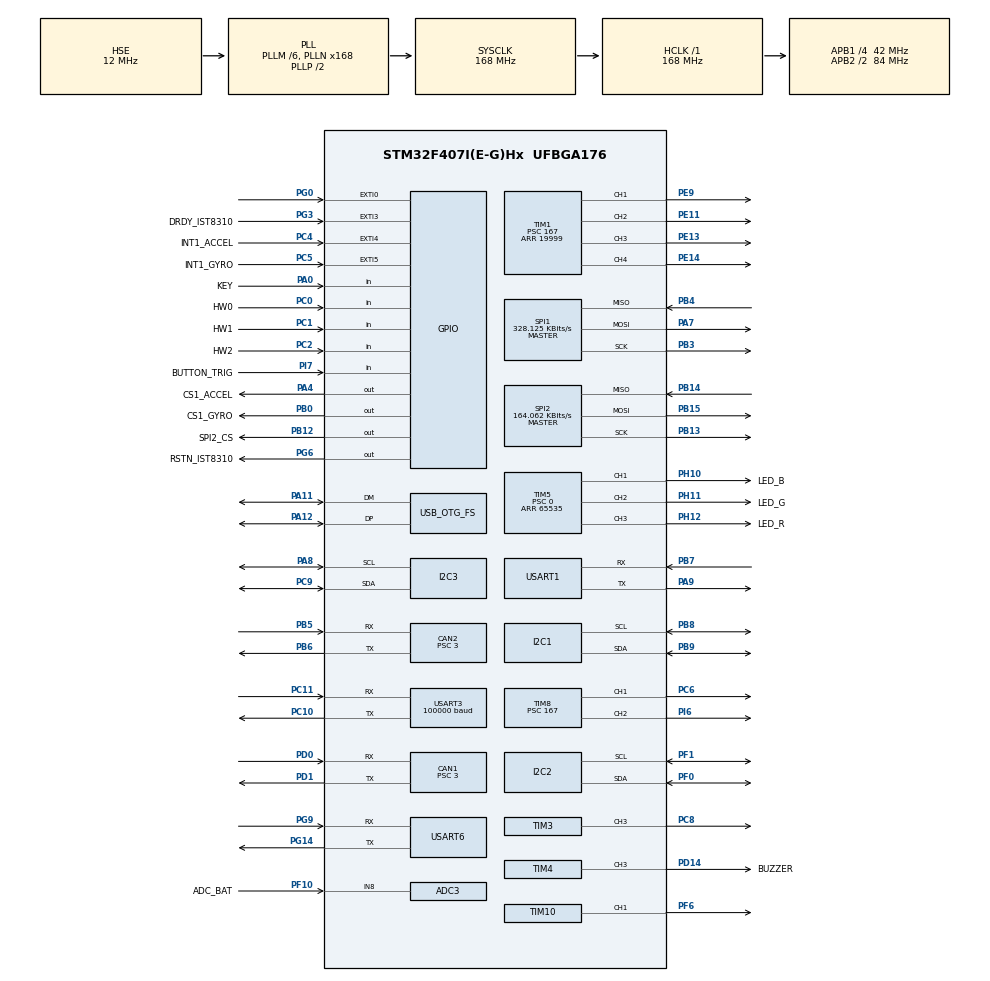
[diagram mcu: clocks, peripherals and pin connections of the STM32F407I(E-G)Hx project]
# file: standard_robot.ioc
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ADC1.Channel-0\#ChannelRegularConversion=ADC_CHANNEL_TEMPSENSOR
ADC1.ClockPrescaler=ADC_CLOCK_SYNC_PCLK_DIV6
ADC1.NbrOfConversionFlag=1
ADC1.Rank-0\#ChannelRegularConversion=1
ADC1.SamplingTime-0\#ChannelRegularConversion=ADC_SAMPLETIME_3CYCLES
ADC1.master=1
ADC3.Channel-0\#ChannelRegularConversion=ADC_CHANNEL_8
ADC3.ClockPrescaler=ADC_CLOCK_SYNC_PCLK_DIV6
ADC3.NbrOfConversionFlag=1
ADC3.Rank-0\#ChannelRegularConversion=1
ADC3.SamplingTime-0\#ChannelRegularConversion=ADC_SAMPLETIME_3CYCLES
CAN1.BS1=CAN_BS1_10TQ
CAN1.BS2=CAN_BS2_3TQ
CAN1.CalculateBaudRate=1000000
CAN1.CalculateTimeQuantum=71.42857142857143
CAN1.Prescaler=3
CAN2.BS1=CAN_BS1_10TQ
CAN2.BS2=CAN_BS2_3TQ
CAN2.CalculateBaudRate=1000000
CAN2.CalculateTimeQuantum=71.42857142857143
CAN2.Prescaler=3
Dma.I2C2_TX.2.Direction=DMA_MEMORY_TO_PERIPH
Dma.I2C2_TX.2.FIFOMode=DMA_FIFOMODE_DISABLE
Dma.I2C2_TX.2.Instance=DMA1_Stream7
Dma.I2C2_TX.2.MemDataAlignment=DMA_MDATAALIGN_BYTE
Dma.I2C2_TX.2.MemInc=DMA_MINC_ENABLE
Dma.I2C2_TX.2.Mode=DMA_NORMAL
Dma.I2C2_TX.2.PeriphDataAlignment=DMA_PDATAALIGN_BYTE
Dma.I2C2_TX.2.PeriphInc=DMA_PINC_DISABLE
Dma.I2C2_TX.2.Priority=DMA_PRIORITY_HIGH
Dma.Request0=SPI1_RX
Dma.Request1=SPI1_TX
Dma.Request2=I2C2_TX
Dma.Request3=USART3_RX
Dma.Request4=USART6_RX
Dma.Request5=USART6_TX
Dma.Request6=USART1_TX
Dma.SPI1_RX.0.Direction=DMA_PERIPH_TO_MEMORY
Dma.SPI1_RX.0.FIFOMode=DMA_FIFOMODE_DISABLE
Dma.SPI1_RX.0.Instance=DMA2_Stream2
Dma.SPI1_RX.0.MemDataAlignment=DMA_MDATAALIGN_BYTE
Dma.SPI1_RX.0.MemInc=DMA_MINC_ENABLE
Dma.SPI1_RX.0.Mode=DMA_NORMAL
Dma.SPI1_RX.0.PeriphDataAlignment=DMA_PDATAALIGN_BYTE
Dma.SPI1_RX.0.PeriphInc=DMA_PINC_DISABLE
Dma.SPI1_RX.0.Priority=DMA_PRIORITY_VERY_HIGH
Dma.SPI1_TX.1.Direction=DMA_MEMORY_TO_PERIPH
Dma.SPI1_TX.1.FIFOMode=DMA_FIFOMODE_DISABLE
Dma.SPI1_TX.1.Instance=DMA2_Stream3
Dma.SPI1_TX.1.MemDataAlignment=DMA_MDATAALIGN_BYTE
Dma.SPI1_TX.1.MemInc=DMA_MINC_ENABLE
Dma.SPI1_TX.1.Mode=DMA_NORMAL
Dma.SPI1_TX.1.PeriphDataAlignment=DMA_PDATAALIGN_BYTE
Dma.SPI1_TX.1.PeriphInc=DMA_PINC_DISABLE
Dma.SPI1_TX.1.Priority=DMA_PRIORITY_HIGH
Dma.USART1_TX.6.Direction=DMA_MEMORY_TO_PERIPH
Dma.USART1_TX.6.FIFOMode=DMA_FIFOMODE_DISABLE
Dma.USART1_TX.6.Instance=DMA2_Stream7
Dma.USART1_TX.6.MemDataAlignment=DMA_MDATAALIGN_BYTE
Dma.USART1_TX.6.MemInc=DMA_MINC_ENABLE
Dma.USART1_TX.6.Mode=DMA_NORMAL
Dma.USART1_TX.6.PeriphDataAlignment=DMA_PDATAALIGN_BYTE
Dma.USART1_TX.6.PeriphInc=DMA_PINC_DISABLE
Dma.USART1_TX.6.Priority=DMA_PRIORITY_MEDIUM
Dma.USART3_RX.3.Direction=DMA_PERIPH_TO_MEMORY
Dma.USART3_RX.3.FIFOMode=DMA_FIFOMODE_DISABLE
Dma.USART3_RX.3.Instance=DMA1_Stream1
Dma.USART3_RX.3.MemDataAlignment=DMA_MDATAALIGN_BYTE
Dma.USART3_RX.3.MemInc=DMA_MINC_ENABLE
Dma.USART3_RX.3.Mode=DMA_NORMAL
Dma.USART3_RX.3.PeriphDataAlignment=DMA_PDATAALIGN_BYTE
Dma.USART3_RX.3.PeriphInc=DMA_PINC_DISABLE
Dma.USART3_RX.3.Priority=DMA_PRIORITY_HIGH
Dma.USART6_RX.4.Direction=DMA_PERIPH_TO_MEMORY
Dma.USART6_RX.4.FIFOMode=DMA_FIFOMODE_DISABLE
Dma.USART6_RX.4.Instance=DMA2_Stream1
Dma.USART6_RX.4.MemDataAlignment=DMA_MDATAALIGN_BYTE
Dma.USART6_RX.4.MemInc=DMA_MINC_ENABLE
Dma.USART6_RX.4.Mode=DMA_NORMAL
Dma.USART6_RX.4.PeriphDataAlignment=DMA_PDATAALIGN_BYTE
Dma.USART6_RX.4.PeriphInc=DMA_PINC_DISABLE
Dma.USART6_RX.4.Priority=DMA_PRIORITY_HIGH
Dma.USART6_TX.5.Direction=DMA_MEMORY_TO_PERIPH
Dma.USART6_TX.5.FIFOMode=DMA_FIFOMODE_DISABLE
Dma.USART6_TX.5.Instance=DMA2_Stream6
Dma.USART6_TX.5.MemDataAlignment=DMA_MDATAALIGN_BYTE
Dma.USART6_TX.5.MemInc=DMA_MINC_ENABLE
Dma.USART6_TX.5.Mode=DMA_NORMAL
Dma.USART6_TX.5.PeriphDataAlignment=DMA_PDATAALIGN_BYTE
Dma.USART6_TX.5.PeriphInc=DMA_PINC_DISABLE
Dma.USART6_TX.5.Priority=DMA_PRIORITY_MEDIUM
FREERTOS.INCLUDE_eTaskGetState=1
FREERTOS.INCLUDE_pcTaskGetTaskName=1
FREERTOS.INCLUDE_uxTaskGetStackHighWaterMark=1
FREERTOS.INCLUDE_vTaskCleanUpResources=1
FREERTOS.INCLUDE_vTaskDelayUntil=1
FREERTOS.INCLUDE_xEventGroupSetBitFromISR=1
FREERTOS.INCLUDE_xQueueGetMutexHolder=1
FREERTOS.INCLUDE_xSemaphoreGetMutexHolder=1
FREERTOS.INCLUDE_xTaskAbortDelay=1
FREERTOS.INCLUDE_xTaskGetCurrentTaskHandle=1
FREERTOS.INCLUDE_xTaskGetHandle=1
FREERTOS.INCLUDE_xTimerPendFunctionCall=1
FREERTOS.Tasks01=test,24,128,test_task,As weak,NULL,Dynamic,NULL,NULL
FREERTOS.configTOTAL_HEAP_SIZE=24576
I2C1.I2C_Mode=I2C_Fast
I2C2.I2C_Mode=I2C_Fast
I2C3.I2C_Mode=I2C_Fast
Mcu.Family=STM32F4
Mcu.Name=STM32F407I(E-G)Hx
Mcu.Package=UFBGA176
NVIC.CAN1_RX0_IRQn=true\:6\:0\:true\:false\:true\:true\:true\:true
NVIC.CAN2_RX0_IRQn=true\:6\:0\:true\:false\:true\:true\:true\:true
NVIC.DMA1_Stream1_IRQn=true\:5\:0\:true\:false\:false\:true\:false\:false
NVIC.DMA1_Stream7_IRQn=true\:5\:0\:true\:false\:false\:true\:false\:true
NVIC.DMA2_Stream1_IRQn=true\:5\:0\:true\:false\:true\:true\:false\:true
NVIC.DMA2_Stream2_IRQn=true\:5\:0\:true\:false\:false\:true\:false\:true
NVIC.DMA2_Stream3_IRQn=true\:5\:0\:true\:false\:false\:true\:false\:true
NVIC.DMA2_Stream6_IRQn=true\:5\:0\:true\:false\:true\:true\:false\:true
NVIC.DMA2_Stream7_IRQn=true\:5\:0\:true\:false\:true\:true\:false\:true
NVIC.EXTI0_IRQn=true\:6\:0\:true\:false\:true\:true\:true\:true
NVIC.EXTI3_IRQn=true\:5\:0\:true\:false\:true\:true\:true\:true
NVIC.EXTI4_IRQn=true\:5\:0\:true\:false\:true\:true\:true\:true
NVIC.EXTI9_5_IRQn=true\:5\:0\:true\:false\:true\:true\:true\:true
NVIC.OTG_FS_IRQn=true\:5\:0\:false\:false\:true\:true\:false\:true
NVIC.PriorityGroup=NVIC_PRIORITYGROUP_4
NVIC.TIM8_TRG_COM_TIM14_IRQn=true\:0\:0\:false\:false\:true\:false\:false\:true
NVIC.USART3_IRQn=true\:4\:0\:true\:false\:false\:false\:true\:true
NVIC.USART6_IRQn=true\:5\:0\:true\:false\:false\:true\:true\:true
PA0-WKUP.GPIO_Label=KEY
PA0-WKUP.GPIO_PuPd=GPIO_PULLUP
PA0-WKUP.Signal=GPIO_Input
PA11.Mode=Device_Only
PA11.Signal=USB_OTG_FS_DM
PA12.Mode=Device_Only
PA12.Signal=USB_OTG_FS_DP
PA13.Mode=Serial_Wire
PA13.Signal=SYS_JTMS-SWDIO
PA14.Mode=Serial_Wire
PA14.Signal=SYS_JTCK-SWCLK
PA4.GPIO_Label=CS1_ACCEL
PA4.GPIO_PuPd=GPIO_PULLUP
PA4.GPIO_Speed=GPIO_SPEED_FREQ_HIGH
PA4.PinState=GPIO_PIN_SET
PA4.Signal=GPIO_Output
PA7.GPIO_PuPd=GPIO_PULLUP
PA7.Mode=Full_Duplex_Master
PA7.Signal=SPI1_MOSI
PA8.GPIO_Pu=GPIO_PULLUP
PA8.Mode=I2C
PA8.Signal=I2C3_SCL
PA9.Mode=Asynchronous
PA9.Signal=USART1_TX
PB0.GPIO_Label=CS1_GYRO
PB0.GPIO_PuPd=GPIO_PULLUP
PB0.GPIO_Speed=GPIO_SPEED_FREQ_HIGH
PB0.PinState=GPIO_PIN_SET
PB0.Signal=GPIO_Output
PB12.GPIO_Label=SPI2_CS
PB12.GPIO_PuPd=GPIO_PULLUP
PB12.GPIO_Speed=GPIO_SPEED_FREQ_MEDIUM
PB12.PinState=GPIO_PIN_SET
PB12.Signal=GPIO_Output
PB13.GPIO_PuPd=GPIO_PULLUP
PB13.Mode=Full_Duplex_Master
PB13.Signal=SPI2_SCK
PB14.GPIO_PuPd=GPIO_PULLUP
PB14.Mode=Full_Duplex_Master
PB14.Signal=SPI2_MISO
PB15.GPIO_PuPd=GPIO_PULLUP
PB15.Mode=Full_Duplex_Master
PB15.Signal=SPI2_MOSI
PB3.GPIO_PuPd=GPIO_PULLUP
PB3.Mode=Full_Duplex_Master
PB3.Signal=SPI1_SCK
PB4.GPIO_PuPd=GPIO_PULLUP
PB4.Mode=Full_Duplex_Master
PB4.Signal=SPI1_MISO
PB5.Mode=CAN_Activate
PB5.Signal=CAN2_RX
PB6.Mode=CAN_Activate
PB6.Signal=CAN2_TX
PB7.Mode=Asynchronous
PB7.Signal=USART1_RX
PB8.GPIO_Pu=GPIO_PULLUP
PB8.Mode=I2C
PB8.Signal=I2C1_SCL
PB9.GPIO_Pu=GPIO_PULLUP
PB9.Mode=I2C
PB9.Signal=I2C1_SDA
PC0.GPIO_Label=HW0
PC0.Signal=GPIO_Input
PC1.GPIO_Label=HW1
PC1.Signal=GPIO_Input
PC10.Mode=Asynchronous
PC10.Signal=USART3_TX
PC11.Mode=Asynchronous
PC11.Signal=USART3_RX
PC2.GPIO_Label=HW2
PC2.Signal=GPIO_Input
PC4.GPIO_Label=INT1_ACCEL
PC4.GPIO_ModeDefaultEXTI=GPIO_MODE_IT_FALLING
PC4.GPIO_PuPd=GPIO_PULLUP
PC4.Signal=GPXTI4
PC5.GPIO_Label=INT1_GYRO
PC5.GPIO_ModeDefaultEXTI=GPIO_MODE_IT_FALLING
PC5.GPIO_PuPd=GPIO_PULLUP
PC5.Signal=GPXTI5
PC6.GPIO_PuPd=GPIO_PULLUP
PC6.GPIO_Speed=GPIO_SPEED_FREQ_HIGH
PC6.Signal=S_TIM8_CH1
PC8.GPIO_PuPd=GPIO_PULLUP
PC8.GPIO_Speed=GPIO_SPEED_FREQ_HIGH
PC8.Signal=S_TIM3_CH3
PC9.GPIO_Pu=GPIO_PULLUP
PC9.Mode=I2C
PC9.Signal=I2C3_SDA
PD0.Mode=CAN_Activate
PD0.Signal=CAN1_RX
PD1.Mode=CAN_Activate
PD1.Signal=CAN1_TX
PD14.GPIO_Label=BUZZER
PD14.GPIO_PuPd=GPIO_PULLUP
PD14.GPIO_Speed=GPIO_SPEED_FREQ_VERY_HIGH
PD14.Signal=S_TIM4_CH3
PE11.GPIO_PuPd=GPIO_PULLUP
PE11.GPIO_Speed=GPIO_SPEED_FREQ_HIGH
PE11.Signal=S_TIM1_CH2
PE13.GPIO_PuPd=GPIO_PULLUP
PE13.GPIO_Speed=GPIO_SPEED_FREQ_HIGH
PE13.Signal=S_TIM1_CH3
PE14.GPIO_PuPd=GPIO_PULLUP
PE14.GPIO_Speed=GPIO_SPEED_FREQ_HIGH
PE14.Signal=S_TIM1_CH4
PE9.GPIO_PuPd=GPIO_PULLUP
PE9.GPIO_Speed=GPIO_SPEED_FREQ_HIGH
PE9.Signal=S_TIM1_CH1
PF0.GPIO_Pu=GPIO_PULLUP
PF0.Mode=I2C
PF0.Signal=I2C2_SDA
PF1.GPIO_Pu=GPIO_PULLUP
PF1.Mode=I2C
PF1.Signal=I2C2_SCL
PF10.GPIO_Label=ADC_BAT
PF10.Mode=IN8
PF10.Signal=ADC3_IN8
PF6.GPIO_PuPd=GPIO_PULLUP
PF6.GPIO_Speed=GPIO_SPEED_FREQ_HIGH
PF6.Signal=S_TIM10_CH1
PG0.GPIO_ModeDefaultEXTI=GPIO_MODE_IT_FALLING
PG0.GPIO_PuPd=GPIO_PULLUP
PG0.Signal=GPXTI0
PG14.Mode=Asynchronous
PG14.Signal=USART6_TX
PG3.GPIO_Label=DRDY_IST8310
PG3.GPIO_ModeDefaultEXTI=GPIO_MODE_IT_FALLING
PG3.GPIO_PuPd=GPIO_PULLUP
PG3.Signal=GPXTI3
PG6.GPIO_Label=RSTN_IST8310
PG6.GPIO_PuPd=GPIO_PULLUP
PG6.GPIO_Speed=GPIO_SPEED_FREQ_MEDIUM
PG6.PinState=GPIO_PIN_SET
PG6.Signal=GPIO_Output
PG9.Mode=Asynchronous
PG9.Signal=USART6_RX
PH0-OSC_IN.Mode=HSE-External-Oscillator
PH0-OSC_IN.Signal=RCC_OSC_IN
PH1-OSC_OUT.Mode=HSE-External-Oscillator
PH1-OSC_OUT.Signal=RCC_OSC_OUT
PH10.GPIO_Label=LED_B
PH10.GPIO_PuPd=GPIO_PULLUP
PH10.GPIO_Speed=GPIO_SPEED_FREQ_HIGH
PH10.Signal=S_TIM5_CH1
PH11.GPIO_Label=LED_G
PH11.GPIO_PuPd=GPIO_PULLUP
PH11.GPIO_Speed=GPIO_SPEED_FREQ_HIGH
PH11.Signal=S_TIM5_CH2
PH12.GPIO_Label=LED_R
PH12.GPIO_PuPd=GPIO_PULLUP
PH12.GPIO_Speed=GPIO_SPEED_FREQ_HIGH
PH12.Signal=S_TIM5_CH3
PI6.GPIO_PuPd=GPIO_PULLUP
PI6.GPIO_Speed=GPIO_SPEED_FREQ_HIGH
PI6.Signal=S_TIM8_CH2
PI7.GPIO_Label=BUTTON_TRIG
PI7.GPIO_PuPd=GPIO_PULLUP
PI7.Signal=GPIO_Input
ProjectManager.HeapSize=0x2000
ProjectManager.StackSize=0x2000
ProjectManager.TargetToolchain=EWARM V8.32
RCC.48MHZClocksFreq_Value=48000000
RCC.AHBFreq_Value=168000000
RCC.APB1CLKDivider=RCC_HCLK_DIV4
RCC.APB1Freq_Value=42000000
RCC.APB1TimFreq_Value=84000000
RCC.APB2CLKDivider=RCC_HCLK_DIV2
RCC.APB2Freq_Value=84000000
RCC.APB2TimFreq_Value=168000000
RCC.CortexFreq_Value=168000000
RCC.HCLKFreq_Value=168000000
RCC.HSE_VALUE=12000000
RCC.HSI_VALUE=16000000
RCC.LSE_VALUE=32768
RCC.PLLM=6
RCC.PLLN=168
RCC.PLLQ=7
RCC.RCC_RTC_Clock_SourceVirtual=RCC_RTCCLKSOURCE_HSE_DIV30
RCC.RCC_RTC_Clock_Source_FROM_HSE=RCC_RTCCLKSOURCE_HSE_DIV30
RCC.SYSCLKFreq_VALUE=168000000
RCC.SYSCLKSource=RCC_SYSCLKSOURCE_PLLCLK
RCC.VCOOutputFreq_Value=336000000
RTC.AsynchPrediv=124
RTC.SynchPrediv=3199
SH.S_TIM10_CH1.0=TIM10_CH1,PWM Generation1 CH1
SH.S_TIM1_CH1.0=TIM1_CH1,PWM Generation1 CH1
SH.S_TIM1_CH2.0=TIM1_CH2,PWM Generation2 CH2
SH.S_TIM1_CH3.0=TIM1_CH3,PWM Generation3 CH3
SH.S_TIM1_CH4.0=TIM1_CH4,PWM Generation4 CH4
SH.S_TIM3_CH3.0=TIM3_CH3,PWM Generation3 CH3
SH.S_TIM4_CH3.0=TIM4_CH3,PWM Generation3 CH3
SH.S_TIM5_CH1.0=TIM5_CH1,PWM Generation1 CH1
SH.S_TIM5_CH2.0=TIM5_CH2,PWM Generation2 CH2
SH.S_TIM5_CH3.0=TIM5_CH3,PWM Generation3 CH3
SH.S_TIM8_CH1.0=TIM8_CH1,PWM Generation1 CH1
SH.S_TIM8_CH2.0=TIM8_CH2,PWM Generation2 CH2
SPI1.BaudRatePrescaler=SPI_BAUDRATEPRESCALER_256
SPI1.CLKPhase=SPI_PHASE_2EDGE
SPI1.CLKPolarity=SPI_POLARITY_HIGH
SPI1.CalculateBaudRate=328.125 KBits/s
SPI1.Direction=SPI_DIRECTION_2LINES
SPI1.Mode=SPI_MODE_MASTER
SPI1.VirtualType=VM_MASTER
SPI2.BaudRatePrescaler=SPI_BAUDRATEPRESCALER_256
SPI2.CLKPhase=SPI_PHASE_2EDGE
SPI2.CLKPolarity=SPI_POLARITY_HIGH
SPI2.CalculateBaudRate=164.062 KBits/s
SPI2.Direction=SPI_DIRECTION_2LINES
SPI2.Mode=SPI_MODE_MASTER
SPI2.VirtualType=VM_MASTER
TIM1.Channel-PWM\ Generation1\ CH1=TIM_CHANNEL_1
TIM1.Channel-PWM\ Generation2\ CH2=TIM_CHANNEL_2
TIM1.Channel-PWM\ Generation3\ CH3=TIM_CHANNEL_3
TIM1.Channel-PWM\ Generation4\ CH4=TIM_CHANNEL_4
TIM1.Period=19999
TIM1.Prescaler=167
TIM1.Pulse-PWM\ Generation1\ CH1=1000
TIM1.Pulse-PWM\ Generation2\ CH2=1000
TIM1.Pulse-PWM\ Generation3\ CH3=1000
TIM1.Pulse-PWM\ Generation4\ CH4=1000
TIM10.Channel=TIM_CHANNEL_1
TIM10.Period=4999
TIM3.Channel-PWM\ Generation3\ CH3=TIM_CHANNEL_3
TIM3.Period=8399
TIM4.Channel-PWM\ Generation3\ CH3=TIM_CHANNEL_3
TIM4.Period=65535
TIM4.Prescaler=167
TIM5.Channel-PWM\ Generation1\ CH1=TIM_CHANNEL_1
TIM5.Channel-PWM\ Generation2\ CH2=TIM_CHANNEL_2
TIM5.Channel-PWM\ Generation3\ CH3=TIM_CHANNEL_3
TIM5.Period=65535
TIM5.Prescaler=0
TIM8.Channel-PWM\ Generation1\ CH1=TIM_CHANNEL_1
TIM8.Channel-PWM\ Generation2\ CH2=TIM_CHANNEL_2
TIM8.Period=19999
TIM8.Prescaler=167
TIM8.Pulse-PWM\ Generation1\ CH1=1000
TIM8.Pulse-PWM\ Generation2\ CH2=1000
USART1.VirtualMode=VM_ASYNC
USART3.BaudRate=100000
USART3.Parity=PARITY_EVEN
USART3.VirtualMode=VM_ASYNC
USART6.VirtualMode=VM_ASYNC
USB_DEVICE.CLASS_NAME_FS=CDC
USB_DEVICE.VirtualMode-CDC_FS=Cdc
USB_DEVICE.VirtualModeFS=Cdc_FS
USB_OTG_FS.VirtualMode=Device_Only
VP_ADC1_TempSens_Input.Mode=IN-TempSens
VP_ADC1_Vref_Input.Mode=IN-Vrefint
VP_CRC_VS_CRC.Mode=CRC_Activate
VP_FREERTOS_VS_CMSIS_V1.Mode=CMSIS_V1
VP_RNG_VS_RNG.Mode=RNG_Activate
VP_RTC_VS_RTC_Activate.Mode=RTC_Enabled
VP_TIM10_VS_ClockSourceINT.Mode=Enable_Timer
VP_TIM1_VS_ClockSourceINT.Mode=Internal
VP_TIM3_VS_ClockSourceINT.Mode=Internal
VP_TIM4_VS_ClockSourceINT.Mode=Internal
VP_TIM5_VS_ClockSourceINT.Mode=Internal
VP_TIM8_VS_ClockSourceINT.Mode=Internal
VP_USB_DEVICE_VS_USB_DEVICE_CDC_FS.Mode=CDC_FS
board=custom

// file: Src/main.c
/* USER CODE BEGIN Header */
/**
  ******************************************************************************
  * @file           : main.c
  * @brief          : Main program body
  ******************************************************************************
  * @attention
  *
  * Copyright (c) 2022 STMicroelectronics.
  * All rights reserved.
  *
  * This software is licensed under terms that can be found in the LICENSE file
  * in the root directory of this software component.
  * If no LICENSE file comes with this software, it is provided AS-IS.
  *
  ******************************************************************************
  */
/* USER CODE END Header */
#include "main.h"
#include "cmsis_os.h"
#include "adc.h"
#include "can.h"
#include "crc.h"
#include "dma.h"
#include "i2c.h"
#include "rng.h"
#include "rtc.h"
#include "spi.h"
#include "tim.h"
#include "usart.h"
#include "usb_device.h"
#include "gpio.h"

/* USER CODE BEGIN Includes */
#include "bsp_can.h"
#include "bsp_delay.h"
#include "bsp_usart.h"
#include "zn_interaction.h"
#include "BMI088driver.h"
#include "remote_control.h"
#include "QuaternionEKF.h"

/* USER CODE END Includes */

void SystemClock_Config(void);
void MX_FREERTOS_Init(void);

int main(void)
{

  /* MCU Configuration--------------------------------------------------------*/

  /* Reset of all peripherals, Initializes the Flash interface and the Systick. */
  HAL_Init();

  /* Configure the system clock */
  SystemClock_Config();

  /* Initialize all configured peripherals */
  MX_GPIO_Init();
  MX_DMA_Init();
  MX_ADC1_Init();
  MX_ADC3_Init();
  MX_CAN1_Init();
  MX_CAN2_Init();
  MX_I2C1_Init();
  MX_SPI1_Init();
  MX_TIM4_Init();
  MX_TIM5_Init();
  MX_USART3_UART_Init();
  MX_TIM8_Init();
  MX_CRC_Init();
  MX_RNG_Init();
  MX_I2C2_Init();
  MX_I2C3_Init();
  MX_RTC_Init();
  MX_SPI2_Init();
  MX_TIM1_Init();
  MX_TIM3_Init();
  MX_TIM10_Init();
  MX_USART1_UART_Init();
  MX_USART6_UART_Init();
  /* USER CODE BEGIN 2 */
    can_filter_init();
    delay_init();
//    cali_param_init();
    remote_control_init();
    usart1_tx_dma_init();

  /* USER CODE END 2 */
 if(Robot1.feature_selection.gyroscope_solving==EKF)
 {
   DWT_Init(168);
   while (BMI088_init(&hspi1, 1) != BMI088_NO_ERROR);
 }
  /* Call init function for freertos objects (in freertos.c) */
  MX_FREERTOS_Init();
  /* Start scheduler */
  osKernelStart();

  /* We should never get here as control is now taken by the scheduler */
  /* Infinite loop */
  while (1)
  {

  }
}

void SystemClock_Config(void)
{
  RCC_OscInitTypeDef RCC_OscInitStruct = {0};
  RCC_ClkInitTypeDef RCC_ClkInitStruct = {0};

  /** Configure the main internal regulator output voltage
  */
  __HAL_RCC_PWR_CLK_ENABLE();
  __HAL_PWR_VOLTAGESCALING_CONFIG(PWR_REGULATOR_VOLTAGE_SCALE1);
  /** Initializes the RCC Oscillators according to the specified parameters
  * in the RCC_OscInitTypeDef structure.
  */
  RCC_OscInitStruct.OscillatorType = RCC_OSCILLATORTYPE_HSE;
  RCC_OscInitStruct.HSEState = RCC_HSE_ON;
  RCC_OscInitStruct.PLL.PLLState = RCC_PLL_ON;
  RCC_OscInitStruct.PLL.PLLSource = RCC_PLLSOURCE_HSE;
  RCC_OscInitStruct.PLL.PLLM = 6;
  RCC_OscInitStruct.PLL.PLLN = 168;
  RCC_OscInitStruct.PLL.PLLP = RCC_PLLP_DIV2;
  RCC_OscInitStruct.PLL.PLLQ = 7;
  if (HAL_RCC_OscConfig(&RCC_OscInitStruct) != HAL_OK)
  {
    Error_Handler();
  }
  /** Initializes the CPU, AHB and APB buses clocks
  */
  RCC_ClkInitStruct.ClockType = RCC_CLOCKTYPE_HCLK|RCC_CLOCKTYPE_SYSCLK
                              |RCC_CLOCKTYPE_PCLK1|RCC_CLOCKTYPE_PCLK2;
  RCC_ClkInitStruct.SYSCLKSource = RCC_SYSCLKSOURCE_PLLCLK;
  RCC_ClkInitStruct.AHBCLKDivider = RCC_SYSCLK_DIV1;
  RCC_ClkInitStruct.APB1CLKDivider = RCC_HCLK_DIV4;
  RCC_ClkInitStruct.APB2CLKDivider = RCC_HCLK_DIV2;

  if (HAL_RCC_ClockConfig(&RCC_ClkInitStruct, FLASH_LATENCY_5) != HAL_OK)
  {
    Error_Handler();
  }
}

void Error_Handler(void)
{
  __disable_irq();
  while (1)
  {
  }
}

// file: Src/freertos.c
/* USER CODE BEGIN Header */
/**
  ******************************************************************************
  * File Name          : freertos.c
  * Description        : Code for freertos applications
  ******************************************************************************
  * @attention
  *
  * Copyright (c) 2022 STMicroelectronics.
  * All rights reserved.
  *
  * This software is licensed under terms that can be found in the LICENSE file
  * in the root directory of this software component.
  * If no LICENSE file comes with this software, it is provided AS-IS.
  *
  ******************************************************************************
  */
/* USER CODE END Header */

#include "FreeRTOS.h"
#include "task.h"
#include "main.h"
#include "cmsis_os.h"

/* USER CODE BEGIN Includes */
#include "led_flow_task.h"
#include "bsp_buzzer.h"
#include "zn_chassis_task.h"
#include "zn_gimbal_task.h"
#include "zn_shoot_task.h"
#include "referee_usart_task.h"
#include "voltage_task.h"
#include "INS_task.h"
#include "zn_display_task.h"
#include "zn_slideblock_task.h"
/* USER CODE END Includes */

osThreadId AppTaskCreateHandle;

osThreadId led_RGB_flow_handle;
osThreadId chassisTaskHandle;
osThreadId referee_usart_task_handle;
osThreadId battery_voltage_handle;
osThreadId imuTaskHandle;
osThreadId gimbalTaskHandle;
osThreadId shootTaskHandle;
osThreadId slideblockHandle;

void AppTaskCreate_task(void const * argument);

extern void MX_USB_DEVICE_Init(void);
void MX_FREERTOS_Init(void); /* (MISRA C 2004 rule 8.1) */

/* GetIdleTaskMemory prototype (linked to static allocation support) */
void vApplicationGetIdleTaskMemory( StaticTask_t **ppxIdleTaskTCBBuffer, StackType_t **ppxIdleTaskStackBuffer, uint32_t *pulIdleTaskStackSize );

/* GetTimerTaskMemory prototype (linked to static allocation support) */
void vApplicationGetTimerTaskMemory( StaticTask_t **ppxTimerTaskTCBBuffer, StackType_t **ppxTimerTaskStackBuffer, uint32_t *pulTimerTaskStackSize );

/* USER CODE BEGIN GET_IDLE_TASK_MEMORY */
static StaticTask_t xIdleTaskTCBBuffer;
static StackType_t xIdleStack[configMINIMAL_STACK_SIZE];

void vApplicationGetIdleTaskMemory( StaticTask_t **ppxIdleTaskTCBBuffer, StackType_t **ppxIdleTaskStackBuffer, uint32_t *pulIdleTaskStackSize )
{
  *ppxIdleTaskTCBBuffer = &xIdleTaskTCBBuffer;
  *ppxIdleTaskStackBuffer = &xIdleStack[0];
  *pulIdleTaskStackSize = configMINIMAL_STACK_SIZE;
  /* place for user code */
}
/* USER CODE END GET_IDLE_TASK_MEMORY */

/* USER CODE BEGIN GET_TIMER_TASK_MEMORY */
static StaticTask_t xTimerTaskTCBBuffer;
static StackType_t xTimerStack[configTIMER_TASK_STACK_DEPTH];

void vApplicationGetTimerTaskMemory( StaticTask_t **ppxTimerTaskTCBBuffer, StackType_t **ppxTimerTaskStackBuffer, uint32_t *pulTimerTaskStackSize )
{
  *ppxTimerTaskTCBBuffer = &xTimerTaskTCBBuffer;
  *ppxTimerTaskStackBuffer = &xTimerStack[0];
  *pulTimerTaskStackSize = configTIMER_TASK_STACK_DEPTH;
  /* place for user code */
}
/* USER CODE END GET_TIMER_TASK_MEMORY */

void MX_FREERTOS_Init(void)
{
  /* USER CODE BEGIN RTOS_THREADS */
  /*������ʼ�����ɸ����񴴽�������*/
  osThreadDef(AppTaskCreate, AppTaskCreate_task, osPriorityNormal, 0, 128);
  AppTaskCreateHandle = osThreadCreate(osThread(AppTaskCreate), NULL);
  /* USER CODE END RTOS_THREADS */

}

void AppTaskCreate_task(void const * argument)
{
  /*���� LED��˸ ����*/
  osThreadDef(led, led_RGB_flow_task, osPriorityNormal, 0, 256);//0
  led_RGB_flow_handle = osThreadCreate(osThread(led), NULL);

  /*���� ���� ����*/
  osThreadDef(slideblock, ZN_slideblock_task, osPriorityNormal, 0, 512);//+2
  slideblockHandle = osThreadCreate(osThread(slideblock), NULL);

  /*���� ���� ����*/
  osThreadDef(ZN_chassis_task, ZN_chassis_task, osPriorityAboveNormal, 0, 512);//+2
  chassisTaskHandle = osThreadCreate(osThread(ZN_chassis_task), NULL);

  /*���� ��̨ ����*/
    osThreadDef(gimbalTask, ZN_gimbal_task, osPriorityHigh, 0, 512);//+2
    gimbalTaskHandle = osThreadCreate(osThread(gimbalTask), NULL);

  /*���� ��� ����*/
    osThreadDef(shootTask, ZN_shoot_task, osPriorityHigh, 0, 512);//+2
    shootTaskHandle = osThreadCreate(osThread(shootTask), NULL);

  /*���� ����ϵͳ ����*/
  osThreadDef(REFEREE, referee_usart_task, osPriorityNormal, 0, 128);//0
  referee_usart_task_handle = osThreadCreate(osThread(REFEREE), NULL);

  /*���� ��ѹ��� ����*/
  osThreadDef(BATTERY_VOLTAGE, battery_voltage_task, osPriorityNormal, 0, 128);//0
  battery_voltage_handle = osThreadCreate(osThread(BATTERY_VOLTAGE), NULL);

  /*���� �ǶȽ��� ����*/
  osThreadDef(imuTask, INS_task, osPriorityRealtime, 0, 1024);//+3
  imuTaskHandle = osThreadCreate(osThread(imuTask), NULL);

  /*���� ��ʾ ����*/
   osThreadDef(Display, ZN_display_task, osPriorityLow, 0, 256);
   osThreadId oled_handle = osThreadCreate(osThread(Display), NULL);

  vTaskDelete(NULL);//ɾ������

  while(1);//����ִ�е�����
}
